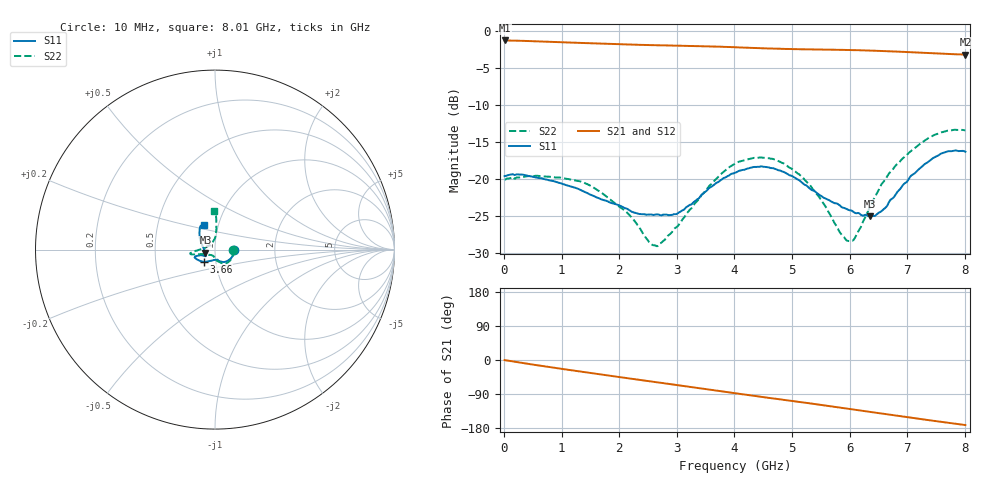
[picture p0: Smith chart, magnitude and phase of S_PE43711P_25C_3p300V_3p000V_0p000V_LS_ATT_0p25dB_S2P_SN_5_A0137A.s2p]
! Device ID: PE43711P
! File Path: z:\PE43711P\CHAR_NOM_04282014\AMB\3p300\LS_ATT_0p25dB\PE43711P_AMB_3p300V_3p000V_0p000V_LS_ATT_0p25dB_S2P_SN_5_A0137A.s2p
! Serial: 5
! Lot: A0137A
! Temp: 25C
! VDD: 3.300
! VSS: 0.000
! Control_Hi: 3.000
! Control_Lo: 0.000
! Attenuation Step: 0.25dB
! Port 1: RF1
! Port 2: RF2
! ThroughPath:1-2
! IDD: 0.0001273353
! ISS: -7.5e-009
#  Hz  S  RI  R  50
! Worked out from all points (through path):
!   801 points, 10 MHz to 8.01 GHz, reference 50 ohm
!   highest |S21| = -1.26 dB at 10 MHz (marker M1); lowest = -3.2 dB at 8.01 GHz (marker M2)
!   group delay of S21, straight-line fit = 59 ps
!   lowest |S11| = -25.0 dB at 6.35 GHz (marker M3), VSWR 1.12, Z = 44.9 - j1.54 ohm
!   |S11| at or under -10 dB: start of sweep to end of sweep
!   |S22| runs from -29.1 to -13.3 dB; largest |S21 - S12| = 0.0012
!   S11 on the Smith chart (normalised r, x): 10 MHz: 1.23, -0.00; 3.66 GHz: 0.87, -0.12; 8.01 GHz: 0.85, +0.24
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1e7  0.1047 -0.000569  0.8646 -0.00436  0.8649 -0.00427  0.0993 -0.000872
3.6e8  0.102 -0.0302  0.8482 -0.1322  0.8479 -0.1319  0.0983 -0.0327
1.35e9  0.0469 -0.0691  0.7127 -0.4286  0.7128 -0.4286  0.0537 -0.0793
2.09e9  0.0182 -0.0613  0.5555 -0.5942  0.5557 -0.5944  0.00872 -0.0609
2.53e9  0.013 -0.0561  0.4482 -0.6681  0.4482 -0.6682  -0.00846 -0.036
2.68e9  0.00956 -0.0568  0.4097 -0.6895  0.41 -0.6899  -0.0175 -0.0311
3.02e9  -0.00824 -0.0584  0.318 -0.7309  0.3181 -0.7315  -0.0393 -0.028
3.66e9  -0.0632 -0.0674  0.134 -0.7755  0.1343 -0.7756  -0.0945 -0.026
4.01e9  -0.0938 -0.0581  0.0314 -0.7772  0.0311 -0.7779  -0.1241 -0.0272
4.35e9  -0.1113 -0.0469  -0.064 -0.7659  -0.0642 -0.7666  -0.1369 -0.0238
4.69e9  -0.1107 -0.0399  -0.155 -0.7453  -0.1552 -0.7455  -0.1345 -0.0187
5.03e9  -0.0973 -0.0346  -0.2415 -0.7159  -0.2421 -0.716  -0.1142 -0.0101
5.35e9  -0.0784 -0.0304  -0.3213 -0.6798  -0.3214 -0.6806  -0.0867 -0.000761
5.84e9  -0.0542 -0.0371  -0.4362 -0.6063  -0.4359 -0.6064  -0.0388 0.0188
5.97e9  -0.0511 -0.0353  -0.4638 -0.583  -0.464 -0.5836  -0.0268 0.0272
6.09e9  -0.0497 -0.0323  -0.4886 -0.5597  -0.489 -0.5604  -0.0167 0.0363
6.35e9  -0.0534 -0.0171  -0.5385 -0.506  -0.5387 -0.5066  -0.000739 0.0644
6.68e9  -0.0676 0.0163  -0.5912 -0.4304  -0.5908 -0.4308  0.00651 0.1085
7.07e9  -0.0849 0.0628  -0.6378 -0.3337  -0.6377 -0.3338  0.00659 0.1551
7.45e9  -0.0861 0.1088  -0.6659 -0.238  -0.6662 -0.2381  0.00179 0.1969
7.71e9  -0.0813 0.131  -0.6786 -0.1736  -0.6784 -0.1734  -0.00549 0.2125
8.01e9  -0.0629 0.1396  -0.6871 -0.1006  -0.6878 -0.0997  -0.00801 0.2132
